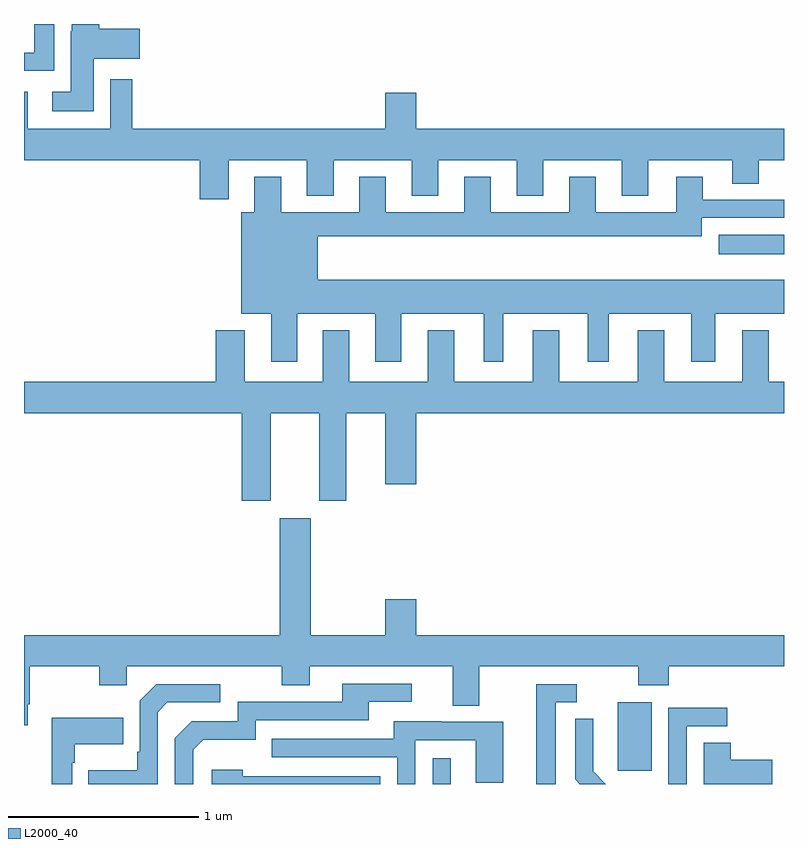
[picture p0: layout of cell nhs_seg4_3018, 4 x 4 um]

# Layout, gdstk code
import gdstk
lib = gdstk.Library(unit=1e-6, precision=1e-09)
def R(c, l, rs):  # rectangles x0, y0, x1, y1
    for r in rs: c.add(gdstk.rectangle(r[:2], r[2:], *l))
def P(c, l, *ps):  # polygons
    for p in ps: c.add(gdstk.Polygon(p, *l))
L2000_40 = (2000, 40)

nhs_seg4_3018 = lib.new_cell('nhs_seg4_3018')
R(nhs_seg4_3018, L2000_40, [(273.15,762.9,273.247,763.036), (274.124,762.969,274.303,763.33), (274.656,765.689,275,765.79)])
P(nhs_seg4_3018, L2000_40, [(271.159,766.9),(271.055,766.9),(271.055,766.749),(271,766.749),(271,766.653),(271.159,766.653)],
  [(271.366,766.718),(271.609,766.718),(271.609,766.876),(271.397,766.876),(271.397,766.9),(271.251,766.9),(271.251,766.862),(271.247,766.862),(271.247,766.543),(271.149,766.543),(271.149,766.442),(271.366,766.442)],
  [(272.077,766.184),(272.489,766.184),(272.489,765.995),(272.629,765.995),(272.629,766.184),(273.041,766.184),(273.041,765.995),(273.181,765.995),(273.181,766.184),(273.593,766.184),(273.593,765.995),(273.733,765.995),(273.733,766.184),(274.145,766.184),(274.145,765.995),(274.285,765.995),(274.285,766.184),(274.727,766.184),(274.727,766.06),(274.867,766.06),(274.867,766.184),(275,766.184),(275,766.348),(273.064,766.348),(273.064,766.537),(272.9,766.537),(272.9,766.348),(271.571,766.348),(271.571,766.609),(271.455,766.609),(271.455,766.348),(271.021,766.348),(271.021,766.543),(271,766.543),(271,766.184),(271.925,766.184),(271.925,765.978),(272.077,765.978)],
  [(272.437,765.374),(272.849,765.374),(272.849,765.123),(272.986,765.123),(272.986,765.374),(273.419,765.374),(273.419,765.123),(273.523,765.123),(273.523,765.374),(273.968,765.374),(273.968,765.123),(274.078,765.123),(274.078,765.374),(274.511,765.374),(274.511,765.123),(274.639,765.123),(274.639,765.374),(275,765.374),(275,765.553),(272.545,765.553),(272.545,765.782),(274.567,765.782),(274.567,765.879),(275,765.879),(275,765.975),(274.573,765.975),(274.573,766.096),(274.433,766.096),(274.433,765.91),(274.009,765.91),(274.009,766.096),(273.869,766.096),(273.869,765.91),(273.457,765.91),(273.457,766.096),(273.317,766.096),(273.317,765.91),(272.905,765.91),(272.905,766.096),(272.765,766.096),(272.765,765.91),(272.353,765.91),(272.353,766.096),(272.213,766.096),(272.213,765.91),(272.144,765.91),(272.144,765.374),(272.3,765.374),(272.3,765.123),(272.437,765.123)],
  [(272.713,765.289),(272.573,765.289),(272.573,765.016),(272.161,765.016),(272.161,765.289),(272.009,765.289),(272.009,765.016),(271,765.016),(271,764.852),(272.147,764.852),(272.147,764.391),(272.299,764.391),(272.299,764.852),(272.555,764.852),(272.555,764.391),(272.695,764.391),(272.695,764.852),(272.9,764.852),(272.9,764.478),(273.064,764.478),(273.064,764.852),(275,764.852),(275,765.016),(274.921,765.016),(274.921,765.289),(274.781,765.289),(274.781,765.016),(274.369,765.016),(274.369,765.289),(274.229,765.289),(274.229,765.016),(273.817,765.016),(273.817,765.289),(273.677,765.289),(273.677,765.016),(273.265,765.016),(273.265,765.289),(273.125,765.289),(273.125,765.016),(272.713,765.016)],
  [(271.021,763.321),(271.029,763.321),(271.029,763.52),(271.396,763.52),(271.396,763.421),(271.542,763.421),(271.542,763.52),(272.356,763.52),(272.356,763.421),(272.503,763.421),(272.503,763.52),(273.257,763.52),(273.257,763.312),(273.397,763.312),(273.397,763.52),(274.234,763.52),(274.234,763.421),(274.394,763.421),(274.394,763.52),(275,763.52),(275,763.684),(273.064,763.684),(273.064,763.873),(272.9,763.873),(272.9,763.684),(272.509,763.684),(272.509,764.299),(272.345,764.299),(272.345,763.684),(271,763.684),(271,763.209),(271.021,763.209)],
  [(271.89,763.08),(271.943,763.133),(272.22,763.133),(272.22,763.236),(272.815,763.236),(272.815,763.332),(273.04,763.332),(273.04,763.428),(272.675,763.428),(272.675,763.332),(272.124,763.332),(272.124,763.23),(271.884,763.23),(271.794,763.14),(271.794,762.9),(271.89,762.9)],
  [(273.799,763.329),(273.91,763.329),(273.91,763.425),(273.695,763.425),(273.695,762.9),(273.799,762.9)],
  [(271.704,763.278),(271.755,763.329),(272.032,763.329),(272.032,763.425),(271.695,763.425),(271.608,763.338),(271.608,763.069),(271.596,763.069),(271.596,762.973),(271.339,762.973),(271.339,762.9),(271.704,762.9)],
  [(274.488,763.203),(274.702,763.203),(274.702,763.302),(274.392,763.302),(274.392,762.9),(274.488,762.9)],
  [(271.254,763.013),(271.267,763.013),(271.267,763.109),(271.523,763.109),(271.523,763.249),(271.146,763.249),(271.146,762.9),(271.254,762.9)],
  [(273.995,762.968),(273.995,763.09),(273.996,763.09),(273.996,763.244),(273.9,763.244),(273.9,762.926),(273.926,762.9),(274.062,762.9)],
  [(273.06,763.131),(273.378,763.131),(273.378,762.907),(273.523,762.907),(273.523,763.227),(273.199,763.227),(273.199,763.231),(272.945,763.231),(272.945,763.137),(272.305,763.137),(272.305,763.041),(272.964,763.041),(272.964,762.9),(273.06,762.9)],
  [(274.939,763.028),(274.721,763.028),(274.721,763.118),(274.577,763.118),(274.577,762.9),(274.939,762.9)],
  [(272.874,762.942),(272.15,762.942),(272.15,762.976),(271.989,762.976),(271.989,762.9),(272.874,762.9)])

lib.write_gds('nhs_seg4_3018.gds')
